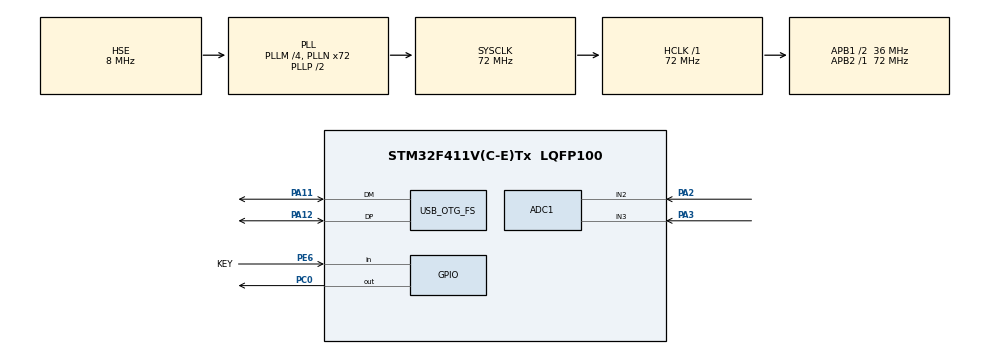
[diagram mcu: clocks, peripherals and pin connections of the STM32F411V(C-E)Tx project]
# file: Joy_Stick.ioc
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ADC1.Channel-0\#ChannelRegularConversion=ADC_CHANNEL_2
ADC1.Channel-1\#ChannelRegularConversion=ADC_CHANNEL_3
ADC1.DMAContinuousRequests=ENABLE
ADC1.ExternalTrigConv=ADC_EXTERNALTRIGCONV_T3_TRGO
ADC1.NbrOfConversion=2
ADC1.NbrOfConversionFlag=1
ADC1.Rank-0\#ChannelRegularConversion=1
ADC1.Rank-1\#ChannelRegularConversion=2
ADC1.SamplingTime-0\#ChannelRegularConversion=ADC_SAMPLETIME_3CYCLES
ADC1.SamplingTime-1\#ChannelRegularConversion=ADC_SAMPLETIME_3CYCLES
ADC1.master=1
Dma.ADC1.0.Direction=DMA_PERIPH_TO_MEMORY
Dma.ADC1.0.FIFOMode=DMA_FIFOMODE_DISABLE
Dma.ADC1.0.Instance=DMA2_Stream0
Dma.ADC1.0.MemDataAlignment=DMA_MDATAALIGN_WORD
Dma.ADC1.0.MemInc=DMA_MINC_ENABLE
Dma.ADC1.0.Mode=DMA_CIRCULAR
Dma.ADC1.0.PeriphDataAlignment=DMA_PDATAALIGN_WORD
Dma.ADC1.0.PeriphInc=DMA_PINC_DISABLE
Dma.ADC1.0.Priority=DMA_PRIORITY_LOW
Dma.Request0=ADC1
Mcu.Family=STM32F4
Mcu.Name=STM32F411V(C-E)Tx
Mcu.Package=LQFP100
NVIC.ADC_IRQn=true\:0\:0\:false\:false\:true\:true\:true
NVIC.DMA2_Stream0_IRQn=true\:0\:0\:false\:false\:true\:false\:true
NVIC.OTG_FS_IRQn=true\:0\:0\:false\:false\:true\:true\:true
NVIC.PriorityGroup=NVIC_PRIORITYGROUP_4
NVIC.TIM3_IRQn=true\:0\:0\:false\:false\:true\:true\:true
PA11.Mode=Device_Only
PA11.Signal=USB_OTG_FS_DM
PA12.Mode=Device_Only
PA12.Signal=USB_OTG_FS_DP
PA13.Mode=Serial_Wire
PA13.Signal=SYS_JTMS-SWDIO
PA14.Mode=Serial_Wire
PA14.Signal=SYS_JTCK-SWCLK
PA2.Signal=ADCx_IN2
PA3.Signal=ADCx_IN3
PC0.Signal=GPIO_Output
PE6.GPIO_Label=KEY
PE6.GPIO_PuPd=GPIO_PULLUP
PE6.Signal=GPIO_Input
PH0\ -\ OSC_IN.Mode=HSE-External-Oscillator
PH0\ -\ OSC_IN.Signal=RCC_OSC_IN
PH1\ -\ OSC_OUT.Mode=HSE-External-Oscillator
PH1\ -\ OSC_OUT.Signal=RCC_OSC_OUT
ProjectManager.HeapSize=0x200
ProjectManager.StackSize=0x400
ProjectManager.TargetToolchain=MDK-ARM V5
RCC.48MHZClocksFreq_Value=48000000
RCC.AHBFreq_Value=72000000
RCC.APB1CLKDivider=RCC_HCLK_DIV2
RCC.APB1Freq_Value=36000000
RCC.APB1TimFreq_Value=72000000
RCC.APB2Freq_Value=72000000
RCC.APB2TimFreq_Value=72000000
RCC.CortexFreq_Value=72000000
RCC.HCLKFreq_Value=72000000
RCC.HSE_VALUE=8000000
RCC.HSI_VALUE=16000000
RCC.LSE_VALUE=32768
RCC.PLLM=4
RCC.PLLN=72
RCC.PLLQ=3
RCC.SYSCLKFreq_VALUE=72000000
RCC.SYSCLKSource=RCC_SYSCLKSOURCE_PLLCLK
RCC.VCOOutputFreq_Value=144000000
SH.ADCx_IN2.0=ADC1_IN2,IN2
SH.ADCx_IN3.0=ADC1_IN3,IN3
TIM3.AutoReloadPreload=TIM_AUTORELOAD_PRELOAD_ENABLE
TIM3.Period=50-1
TIM3.Prescaler=100-1
TIM3.TIM_MasterOutputTrigger=TIM_TRGO_UPDATE
USB_DEVICE.CLASS_NAME_FS=HID
USB_DEVICE.VirtualMode=Hid
USB_DEVICE.VirtualModeFS=Hid_FS
USB_OTG_FS.VirtualMode=Device_Only
VP_TIM3_VS_ClockSourceINT.Mode=Internal
VP_USB_DEVICE_VS_USB_DEVICE_HID_FS.Mode=HID_FS
board=custom

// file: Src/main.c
/* USER CODE BEGIN Header */
/**
  ******************************************************************************
  * @file           : main.c
  * @brief          : Main program body
  ******************************************************************************
  * @attention
  *
  * <h2><center>&copy; Copyright (c) 2020 STMicroelectronics.
  * All rights reserved.</center></h2>
  *
  * This software component is licensed by ST under BSD 3-Clause license,
  * the "License"; You may not use this file except in compliance with the
  * License. You may obtain a copy of the License at:
  *                        opensource.org/licenses/BSD-3-Clause
  *
  ******************************************************************************
  */
/* USER CODE END Header */

#include "main.h"
#include "usb_device.h"

/* USER CODE BEGIN Includes */
#include "usbd_hid.h"
/* USER CODE END Includes */

/* USER CODE BEGIN PD */
#define SENSE 8
#define FILTER 1
/* USER CODE END PD */

ADC_HandleTypeDef hadc1;
DMA_HandleTypeDef hdma_adc1;
TIM_HandleTypeDef htim3;

/* USER CODE BEGIN PV */
extern USBD_HandleTypeDef hUsbDeviceFS;
int8_t Report[4];
uint32_t ADC_results[410];
uint32_t Stick1,Stick2;
/* USER CODE END PV */

void SystemClock_Config(void);
static void MX_GPIO_Init(void);
static void MX_DMA_Init(void);
static void MX_ADC1_Init(void);
static void MX_TIM3_Init(void);
/* USER CODE BEGIN PFP */
void HAL_ADC_ConvCpltCallback(ADC_HandleTypeDef*);
/* USER CODE END PFP */

int main(void)
{

  /* MCU Configuration--------------------------------------------------------*/

  /* Reset of all peripherals, Initializes the Flash interface and the Systick. */
  HAL_Init();

  /* Configure the system clock */
  SystemClock_Config();

  /* Initialize all configured peripherals */
  MX_GPIO_Init();
  MX_DMA_Init();
  MX_ADC1_Init();
  MX_TIM3_Init();
  MX_USB_DEVICE_Init();
  /* USER CODE BEGIN 2 */

	for(int i=0; i<410; i++)
		ADC_results[i] = 0;

	HAL_TIM_Base_Start(&htim3);
	HAL_ADC_Start_DMA(&hadc1,ADC_results,400);
  /* USER CODE END 2 */

  /* Infinite loop */
  while (1)
  {

    /* USER CODE BEGIN 3 */
		USBD_HID_SendReport(&hUsbDeviceFS, (uint8_t*)Report, 4);
		HAL_Delay(10);
  }
  /* USER CODE END 3 */
}

void SystemClock_Config(void)
{
  RCC_OscInitTypeDef RCC_OscInitStruct = {0};
  RCC_ClkInitTypeDef RCC_ClkInitStruct = {0};

  /** Configure the main internal regulator output voltage
  */
  __HAL_RCC_PWR_CLK_ENABLE();
  __HAL_PWR_VOLTAGESCALING_CONFIG(PWR_REGULATOR_VOLTAGE_SCALE1);
  /** Initializes the CPU, AHB and APB busses clocks
  */
  RCC_OscInitStruct.OscillatorType = RCC_OSCILLATORTYPE_HSE;
  RCC_OscInitStruct.HSEState = RCC_HSE_ON;
  RCC_OscInitStruct.PLL.PLLState = RCC_PLL_ON;
  RCC_OscInitStruct.PLL.PLLSource = RCC_PLLSOURCE_HSE;
  RCC_OscInitStruct.PLL.PLLM = 4;
  RCC_OscInitStruct.PLL.PLLN = 72;
  RCC_OscInitStruct.PLL.PLLP = RCC_PLLP_DIV2;
  RCC_OscInitStruct.PLL.PLLQ = 3;
  if (HAL_RCC_OscConfig(&RCC_OscInitStruct) != HAL_OK)
  {
    Error_Handler();
  }
  /** Initializes the CPU, AHB and APB busses clocks
  */
  RCC_ClkInitStruct.ClockType = RCC_CLOCKTYPE_HCLK|RCC_CLOCKTYPE_SYSCLK
                              |RCC_CLOCKTYPE_PCLK1|RCC_CLOCKTYPE_PCLK2;
  RCC_ClkInitStruct.SYSCLKSource = RCC_SYSCLKSOURCE_PLLCLK;
  RCC_ClkInitStruct.AHBCLKDivider = RCC_SYSCLK_DIV1;
  RCC_ClkInitStruct.APB1CLKDivider = RCC_HCLK_DIV2;
  RCC_ClkInitStruct.APB2CLKDivider = RCC_HCLK_DIV1;

  if (HAL_RCC_ClockConfig(&RCC_ClkInitStruct, FLASH_LATENCY_2) != HAL_OK)
  {
    Error_Handler();
  }
}

static void MX_ADC1_Init(void)
{

  ADC_ChannelConfTypeDef sConfig = {0};

  /** Configure the global features of the ADC (Clock, Resolution, Data Alignment and number of conversion)
  */
  hadc1.Instance = ADC1;
  hadc1.Init.ClockPrescaler = ADC_CLOCK_SYNC_PCLK_DIV2;
  hadc1.Init.Resolution = ADC_RESOLUTION_12B;
  hadc1.Init.ScanConvMode = ENABLE;
  hadc1.Init.ContinuousConvMode = DISABLE;
  hadc1.Init.DiscontinuousConvMode = DISABLE;
  hadc1.Init.ExternalTrigConvEdge = ADC_EXTERNALTRIGCONVEDGE_RISING;
  hadc1.Init.ExternalTrigConv = ADC_EXTERNALTRIGCONV_T3_TRGO;
  hadc1.Init.DataAlign = ADC_DATAALIGN_RIGHT;
  hadc1.Init.NbrOfConversion = 2;
  hadc1.Init.DMAContinuousRequests = ENABLE;
  hadc1.Init.EOCSelection = ADC_EOC_SINGLE_CONV;
  if (HAL_ADC_Init(&hadc1) != HAL_OK)
  {
    Error_Handler();
  }
  /** Configure for the selected ADC regular channel its corresponding rank in the sequencer and its sample time.
  */
  sConfig.Channel = ADC_CHANNEL_2;
  sConfig.Rank = 1;
  sConfig.SamplingTime = ADC_SAMPLETIME_3CYCLES;
  if (HAL_ADC_ConfigChannel(&hadc1, &sConfig) != HAL_OK)
  {
    Error_Handler();
  }
  /** Configure for the selected ADC regular channel its corresponding rank in the sequencer and its sample time.
  */
  sConfig.Channel = ADC_CHANNEL_3;
  sConfig.Rank = 2;
  if (HAL_ADC_ConfigChannel(&hadc1, &sConfig) != HAL_OK)
  {
    Error_Handler();
  }

}

static void MX_TIM3_Init(void)
{

  TIM_ClockConfigTypeDef sClockSourceConfig = {0};
  TIM_MasterConfigTypeDef sMasterConfig = {0};

  htim3.Instance = TIM3;
  htim3.Init.Prescaler = 72-1;
  htim3.Init.CounterMode = TIM_COUNTERMODE_UP;
  htim3.Init.Period = 40-1;
  htim3.Init.ClockDivision = TIM_CLOCKDIVISION_DIV1;
  htim3.Init.AutoReloadPreload = TIM_AUTORELOAD_PRELOAD_ENABLE;
  if (HAL_TIM_Base_Init(&htim3) != HAL_OK)
  {
    Error_Handler();
  }
  sClockSourceConfig.ClockSource = TIM_CLOCKSOURCE_INTERNAL;
  if (HAL_TIM_ConfigClockSource(&htim3, &sClockSourceConfig) != HAL_OK)
  {
    Error_Handler();
  }
  sMasterConfig.MasterOutputTrigger = TIM_TRGO_UPDATE;
  sMasterConfig.MasterSlaveMode = TIM_MASTERSLAVEMODE_DISABLE;
  if (HAL_TIMEx_MasterConfigSynchronization(&htim3, &sMasterConfig) != HAL_OK)
  {
    Error_Handler();
  }

}

static void MX_DMA_Init(void)
{

  /* DMA controller clock enable */
  __HAL_RCC_DMA2_CLK_ENABLE();

  /* DMA interrupt init */
  /* DMA2_Stream0_IRQn interrupt configuration */
  HAL_NVIC_SetPriority(DMA2_Stream0_IRQn, 0, 0);
  HAL_NVIC_EnableIRQ(DMA2_Stream0_IRQn);

}

static void MX_GPIO_Init(void)
{
  GPIO_InitTypeDef GPIO_InitStruct = {0};

  /* GPIO Ports Clock Enable */
  __HAL_RCC_GPIOE_CLK_ENABLE();
  __HAL_RCC_GPIOH_CLK_ENABLE();
  __HAL_RCC_GPIOC_CLK_ENABLE();
  __HAL_RCC_GPIOA_CLK_ENABLE();

  /*Configure GPIO pin Output Level */
  HAL_GPIO_WritePin(GPIOC, GPIO_PIN_0, GPIO_PIN_RESET);

  /*Configure GPIO pin : KEY_Pin */
  GPIO_InitStruct.Pin = KEY_Pin;
  GPIO_InitStruct.Mode = GPIO_MODE_INPUT;
  GPIO_InitStruct.Pull = GPIO_PULLUP;
  HAL_GPIO_Init(KEY_GPIO_Port, &GPIO_InitStruct);

  /*Configure GPIO pin : PC0 */
  GPIO_InitStruct.Pin = GPIO_PIN_0;
  GPIO_InitStruct.Mode = GPIO_MODE_OUTPUT_PP;
  GPIO_InitStruct.Pull = GPIO_NOPULL;
  GPIO_InitStruct.Speed = GPIO_SPEED_FREQ_LOW;
  HAL_GPIO_Init(GPIOC, &GPIO_InitStruct);

}

/* USER CODE BEGIN 4 */
void HAL_ADC_ConvCpltCallback(ADC_HandleTypeDef* hadc){
	uint32_t sum1=0,sum2=0;
	for(int i=0; i<200; i++){
		sum1 += ADC_results[2*i];
		sum2 += ADC_results[2*i+1];
	}
	Stick1 = sum1/200;
	Stick2 = sum2/200;

	Report[1] = (Stick1/16 - 127)/SENSE;
	Report[2] = -(Stick2/16 - 127)/SENSE;

	Report[1] = abs(Report[1])<FILTER ? 0 : Report[1];
  Report[2] = abs(Report[2])<FILTER ? 0 : Report[2];

	Report[3] = 0;

	if(HAL_GPIO_ReadPin(KEY_GPIO_Port,KEY_Pin)==GPIO_PIN_RESET){
		Report[0] = 1;
	}
	else{
		Report[0] = 0;
	}
}
/* USER CODE END 4 */

void Error_Handler(void)
{
}

/************************ (C) COPYRIGHT STMicroelectronics *****END OF FILE****/
